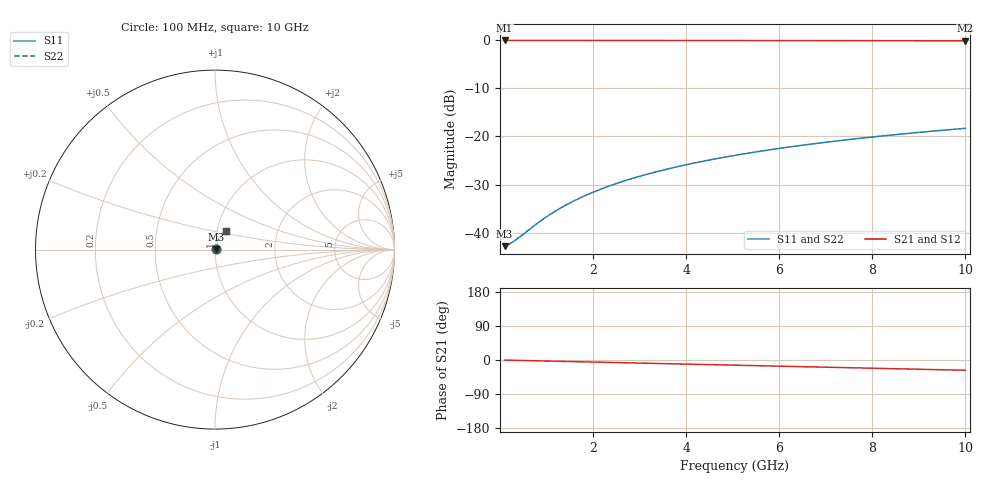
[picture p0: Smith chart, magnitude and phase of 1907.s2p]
# Hz S RI R 50.00
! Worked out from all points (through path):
!   100 points, 100 MHz to 10 GHz, reference 50 ohm
!   highest |S21| = -0.06 dB at 100 MHz (marker M1); lowest = -0.1 dB at 10 GHz (marker M2)
!   group delay of S21, straight-line fit = 7.53 ps
!   lowest |S11| = -42.8 dB at 100 MHz (marker M3), VSWR 1.01, Z = 50.7 + j0.125 ohm
!   |S11| at or under -10 dB: start of sweep to end of sweep
!   |S22| runs from -42.8 to -18.3 dB; largest |S21 - S12| = 0
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1e8  0.00713 0.00123  0.9929 -0.00471  0.9929 -0.00471  0.00713 0.00123
2e8  0.0072 0.00246  0.9928 -0.00942  0.9928 -0.00942  0.0072 0.00246
3e8  0.00726 0.00369  0.9927 -0.0141  0.9927 -0.0141  0.00726 0.00369
4e8  0.00733 0.00492  0.9926 -0.0188  0.9926 -0.0188  0.00733 0.00492
8e8  0.00768 0.00982  0.9919 -0.0377  0.9919 -0.0377  0.00768 0.00982
1.1e9  0.00806 0.0135  0.9912 -0.0518  0.9912 -0.0518  0.00806 0.0135
1.4e9  0.00853 0.0171  0.9902 -0.0659  0.9902 -0.0659  0.00853 0.0171
1.6e9  0.0089 0.0196  0.9895 -0.0752  0.9895 -0.0752  0.0089 0.0196
1.8e9  0.00932 0.022  0.9887 -0.0846  0.9887 -0.0846  0.00932 0.022
2.1e9  0.01 0.0256  0.9872 -0.0987  0.9872 -0.0987  0.01 0.0256
2.5e9  0.0111 0.0304  0.985 -0.1173  0.985 -0.1173  0.0111 0.0304
2.9e9  0.0124 0.0351  0.9824 -0.136  0.9824 -0.136  0.0124 0.0351
3.4e9  0.0143 0.041  0.9786 -0.1592  0.9786 -0.1592  0.0143 0.041
3.8e9  0.0159 0.0456  0.9752 -0.1776  0.9752 -0.1776  0.0159 0.0456
4.2e9  0.0178 0.0501  0.9714 -0.196  0.9714 -0.196  0.0178 0.0501
4.6e9  0.0198 0.0546  0.9672 -0.2143  0.9672 -0.2143  0.0198 0.0546
5.1e9  0.0226 0.06  0.9614 -0.2371  0.9614 -0.2371  0.0226 0.06
5.9e9  0.0275 0.0685  0.9511 -0.2731  0.9511 -0.2731  0.0275 0.0685
6.7e9  0.0331 0.0765  0.9393 -0.3086  0.9393 -0.3086  0.0331 0.0765
7.5e9  0.0392 0.0841  0.9262 -0.3435  0.9262 -0.3435  0.0392 0.0841
8.4e9  0.0468 0.092  0.9098 -0.3821  0.9098 -0.3821  0.0468 0.092
1e10  0.0618 0.1044  0.8766 -0.4485  0.8766 -0.4485  0.0618 0.1044
